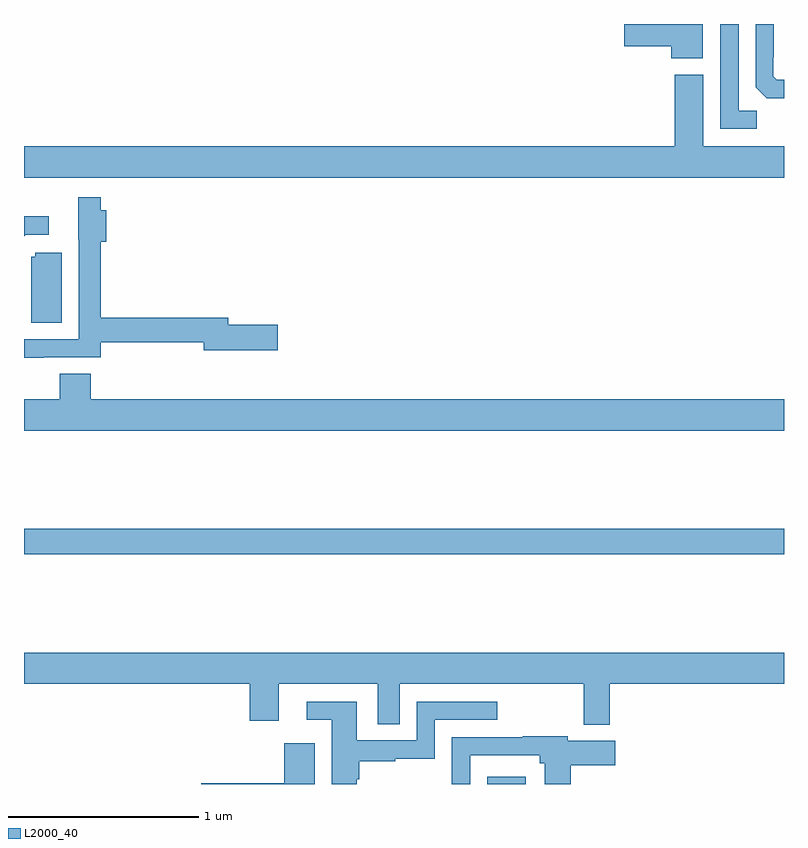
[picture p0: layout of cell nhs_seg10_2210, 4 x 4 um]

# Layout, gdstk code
import gdstk
lib = gdstk.Library(unit=1e-6, precision=1e-09)
def R(c, l, rs):  # rectangles x0, y0, x1, y1
    for r in rs: c.add(gdstk.rectangle(r[:2], r[2:], *l))
def P(c, l, *ps):  # polygons
    for p in ps: c.add(gdstk.Polygon(p, *l))
L2000_40 = (2000, 40)

nhs_seg10_2210 = lib.new_cell('nhs_seg10_2210')
R(nhs_seg10_2210, L2000_40, [(231.437,1254.5,231.64,1254.538), (229,1255.708,233,1255.844)])
P(nhs_seg10_2210, L2000_40, [(232.857,1258.043),(232.761,1258.043),(232.761,1258.5),(232.665,1258.5),(232.665,1257.948),(232.857,1257.948)],
  [(233,1258.206),(232.962,1258.206),(232.944,1258.224),(232.944,1258.324),(232.947,1258.324),(232.947,1258.5),(232.851,1258.5),(232.851,1258.168),(232.91,1258.109),(233,1258.109)],
  [(232.573,1258.5),(232.158,1258.5),(232.158,1258.382),(232.406,1258.382),(232.406,1258.319),(232.573,1258.319)],
  [(233,1257.856),(232.576,1257.856),(232.576,1258.234),(232.424,1258.234),(232.424,1257.856),(229,1257.856),(229,1257.692),(233,1257.692)],
  [(229.103,1256.745),(229.403,1256.745),(229.403,1256.826),(229.946,1256.826),(229.946,1256.783),(230.335,1256.783),(230.335,1256.918),(230.074,1256.918),(230.074,1256.954),(229.403,1256.954),(229.403,1257.355),(229.433,1257.355),(229.433,1257.52),(229.403,1257.52),(229.403,1257.589),(229.286,1257.589),(229.286,1257.366),(229.287,1257.366),(229.287,1256.841),(229,1256.841),(229,1256.743),(229.103,1256.743)],
  [(229.008,1257.39),(229.129,1257.39),(229.129,1257.487),(229,1257.487),(229,1257.382)],
  [(229.198,1257.297),(229.059,1257.297),(229.059,1257.276),(229.037,1257.276),(229.037,1256.928),(229.198,1256.928)],
  [(233,1256.524),(229.352,1256.524),(229.352,1256.66),(229.187,1256.66),(229.187,1256.524),(229,1256.524),(229,1256.36),(233,1256.36)],
  [(232.082,1255.028),(233,1255.028),(233,1255.192),(229,1255.192),(229,1255.028),(230.189,1255.028),(230.189,1254.834),(230.341,1254.834),(230.341,1255.028),(230.861,1255.028),(230.861,1254.814),(230.977,1254.814),(230.977,1255.028),(231.946,1255.028),(231.946,1254.812),(232.082,1254.812)],
  [(230.752,1254.525),(230.765,1254.525),(230.765,1254.621),(230.954,1254.621),(230.954,1254.632),(231.162,1254.632),(231.162,1254.837),(231.49,1254.837),(231.49,1254.933),(231.066,1254.933),(231.066,1254.729),(230.752,1254.729),(230.752,1254.933),(230.487,1254.933),(230.487,1254.837),(230.621,1254.837),(230.621,1254.5),(230.752,1254.5)],
  [(231.348,1254.651),(231.715,1254.651),(231.715,1254.609),(231.74,1254.609),(231.74,1254.5),(231.878,1254.5),(231.878,1254.598),(232.111,1254.598),(232.111,1254.727),(231.861,1254.727),(231.861,1254.752),(231.626,1254.752),(231.626,1254.747),(231.252,1254.747),(231.252,1254.5),(231.348,1254.5)],
  [(230.53,1254.715),(230.369,1254.715),(230.369,1254.505),(229.934,1254.505),(229.934,1254.5),(230.53,1254.5)])

lib.write_gds('nhs_seg10_2210.gds')
